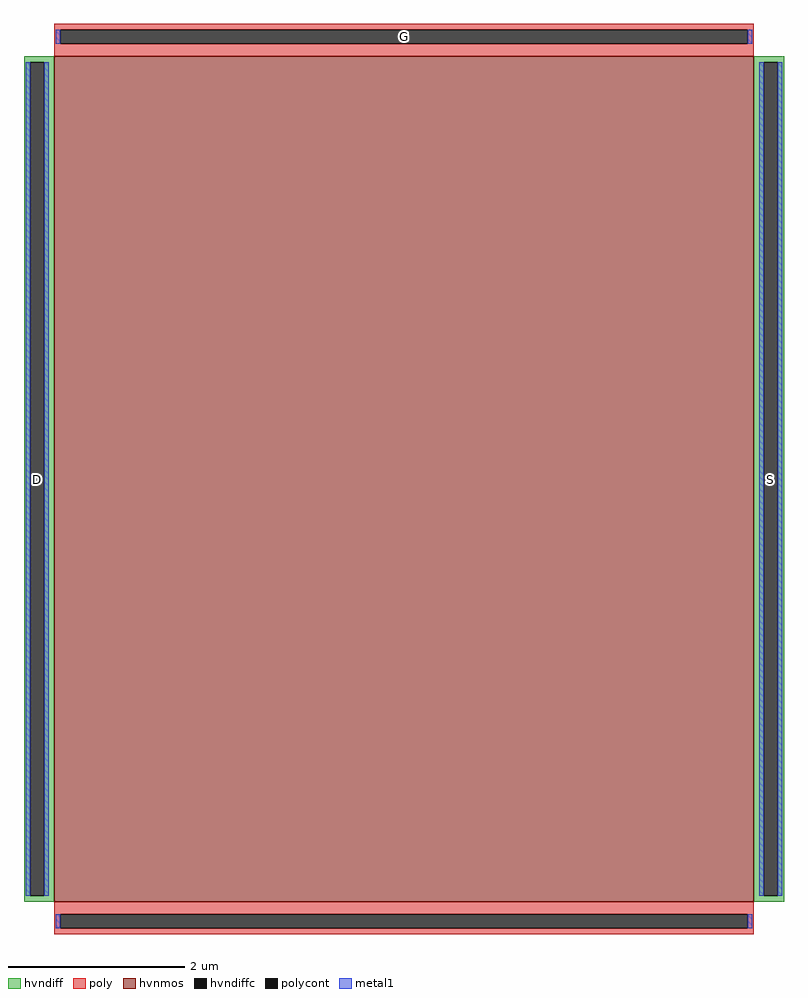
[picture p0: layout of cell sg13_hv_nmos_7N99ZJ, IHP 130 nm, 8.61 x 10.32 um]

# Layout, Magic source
magic
tech ihp-sg13cmos5l
magscale 1 2
<< hvnmos >>
rect -793 -958 793 958
<< hvndiff >>
rect -861 944 -793 958
rect -861 -944 -847 944
rect -815 -944 -793 944
rect -861 -958 -793 -944
rect 793 944 861 958
rect 793 -944 815 944
rect 847 -944 861 944
rect 793 -958 861 -944
<< hvndiffc >>
rect -847 -944 -815 944
rect 815 -944 847 944
<< poly >>
rect -793 1018 793 1032
rect -793 986 -779 1018
rect 779 986 793 1018
rect -793 958 793 986
rect -793 -986 793 -958
rect -793 -1018 -779 -986
rect 779 -1018 793 -986
rect -793 -1032 793 -1018
<< polycont >>
rect -779 986 779 1018
rect -779 -1018 779 -986
<< metal1 >>
rect -789 986 -779 1018
rect 779 986 789 1018
rect -857 -944 -847 944
rect -815 -944 -805 944
rect 805 -944 815 944
rect 847 -944 857 944
rect -789 -1018 -779 -986
rect 779 -1018 789 -986
<< labels >>
rlabel hvndiffc -831 0 -831 0 0 D
port 4 nsew
rlabel hvndiffc 831 0 831 0 0 S
port 5 nsew
rlabel polycont 0 1002 0 1002 0 G
port 6 nsew
<< properties >>
string gencell sg13_hv_nmos
string library sg13cmos5l
string parameters w 9.575 l 7.93 m 1 ng 1 diffcov 100 polycov 100 guard 0 glc 1 grc 1 gtc 1 gbc 1 tbcov 100 rlcov 100 topc 1 botc 1 poverlap 0 doverlap 1 lmin 0.45 wmin 0.15 class mosfet compatible {sg13_lv_nmos sg13_hv_nmos} full_metal 1 conn_gates 0 gate_ring 0 doports 1 viasrc 0 viadrn 0 viagate 0 ccols 1 viagb 0 viagr 0 viagl 0 viagt 0
<< end >>
